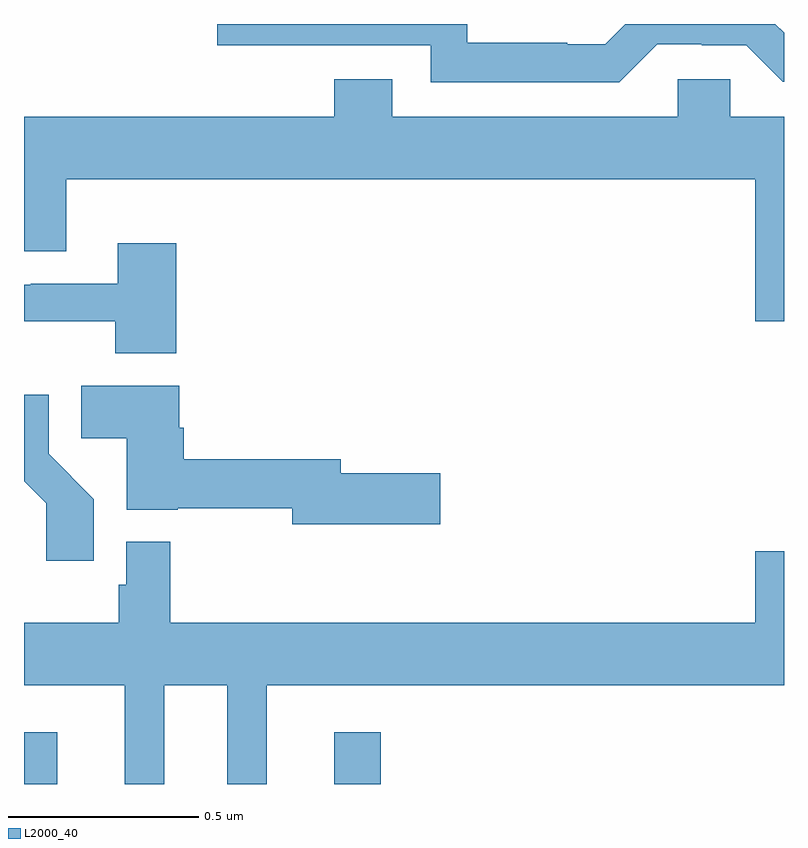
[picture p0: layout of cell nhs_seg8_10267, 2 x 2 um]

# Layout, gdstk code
import gdstk
lib = gdstk.Library(unit=1e-6, precision=1e-09)
def R(c, l, rs):  # rectangles x0, y0, x1, y1
    for r in rs: c.add(gdstk.rectangle(r[:2], r[2:], *l))
def P(c, l, *ps):  # polygons
    for p in ps: c.add(gdstk.Polygon(p, *l))
L2000_40 = (2000, 40)

nhs_seg8_10267 = lib.new_cell('nhs_seg8_10267')
R(nhs_seg8_10267, L2000_40, [(247,1122.9,247.087,1123.036), (247.817,1122.9,247.939,1123.036)])
P(nhs_seg8_10267, L2000_40, [(248.667,1124.847),(248.783,1124.847),(248.783,1124.844),(248.901,1124.844),(248.997,1124.748),(249,1124.748),(249,1124.877),(248.977,1124.9),(248.582,1124.9),(248.529,1124.847),(248.429,1124.847),(248.429,1124.851),(248.166,1124.851),(248.166,1124.9),(247.509,1124.9),(247.509,1124.844),(248.07,1124.844),(248.07,1124.747),(248.567,1124.747)],
  [(249,1124.656),(248.859,1124.656),(248.859,1124.754),(248.721,1124.754),(248.721,1124.656),(247.969,1124.656),(247.969,1124.755),(247.817,1124.755),(247.817,1124.656),(247,1124.656),(247,1124.302),(247.111,1124.302),(247.111,1124.492),(248.924,1124.492),(248.924,1124.118),(249,1124.118)],
  [(247.4,1124.323),(247.247,1124.323),(247.247,1124.217),(247.018,1124.217),(247.018,1124.214),(247,1124.214),(247,1124.118),(247.24,1124.118),(247.24,1124.033),(247.4,1124.033)],
  [(248.095,1123.718),(247.834,1123.718),(247.834,1123.754),(247.421,1123.754),(247.421,1123.838),(247.408,1123.838),(247.408,1123.948),(247.15,1123.948),(247.15,1123.81),(247.271,1123.81),(247.271,1123.622),(247.404,1123.622),(247.404,1123.626),(247.706,1123.626),(247.706,1123.583),(248.095,1123.583)],
  [(247.184,1123.65),(247.065,1123.769),(247.065,1123.924),(247,1123.924),(247,1123.697),(247.059,1123.639),(247.059,1123.488),(247.184,1123.488)],
  [(247.369,1123.16),(247.535,1123.16),(247.535,1122.9),(247.639,1122.9),(247.639,1123.16),(249,1123.16),(249,1123.513),(248.924,1123.513),(248.924,1123.324),(247.385,1123.324),(247.385,1123.537),(247.269,1123.537),(247.269,1123.425),(247.249,1123.425),(247.249,1123.324),(247,1123.324),(247,1123.16),(247.265,1123.16),(247.265,1122.9),(247.369,1122.9)])

lib.write_gds('nhs_seg8_10267.gds')
